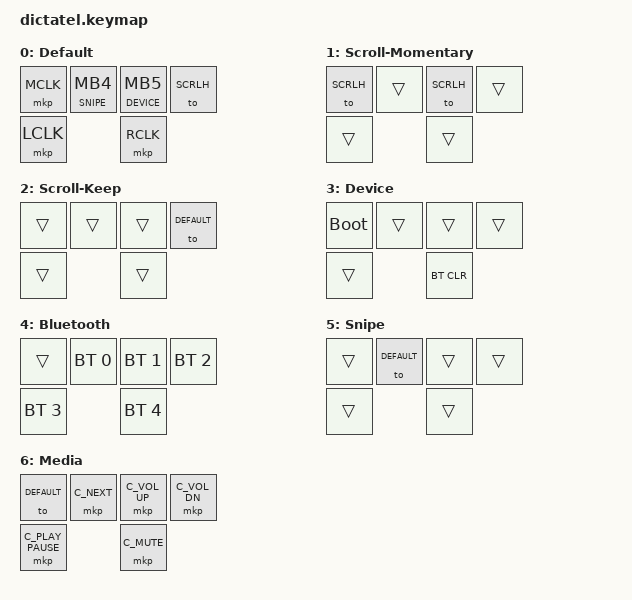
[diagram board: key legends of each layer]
#include <behaviors.dtsi>
#include <dt-bindings/zmk/bt.h>
#include <dt-bindings/zmk/keys.h>
#include <dt-bindings/zmk/pointing.h>
#include <dt-bindings/zmk/outputs.h>

// #include <dt-bindings/zmk/mouse.h>

#define DEFAULT 0
#define SCRLM 1
#define SCRLH 2
#define DEVICE 3
#define BLTH 4
#define SNIPE 5
#define MEDIA 6

/ {
  combos {
    compatible = "zmk,combos";
    combo_esc {
      timeout-ms = <50>;
      key-positions = <2 3>;
      bindings = <&mkp RCLK>;
    };
  };
  behaviors {
    ltm: layer-tap-momentary {
      compatible = "zmk,behavior-hold-tap";
      #binding-cells = <2>;
      flavor = "tap-preferred";
      tapping-term-ms = <200>;
      bindings = <&mo>, <&mkp>;
    };
    lth: layer-tap-hold-while-undecided {
      compatible = "zmk,behavior-hold-tap";
      #binding-cells = <2>;
      flavor = "hold-preferred";
      hold-while-undecided;
      tapping-term-ms = <150>;
      bindings = <&mo>, <&mkp>;
    };
    mto: momentary-or-toggle {
      compatible = "zmk,behavior-hold-tap";
      #binding-cells = <2>;
      flavor = "hold-preferred";
      hold-while-undecided;
      tapping-term-ms = <200>;
      bindings = <&mo>, <&to>;
    };
  };
  keymap {
    compatible = "zmk,keymap";
    default_layer {
      display-name = "Default";
      bindings = <
        &mkp MCLK &ltm SNIPE MB4 &ltm DEVICE MB5 &to SCRLH
        &mkp LCLK                      &mkp RCLK
      >;
    };
    scroll_tap_layer {
      display-name = "Scroll-Momentary";
      bindings = <
        &to SCRLH &trans &to SCRLH &trans
        &trans               &trans
      >;
    };
    scroll_hold_layer {
      display-name = "Scroll-Keep";
      bindings = <
        &trans &trans &trans &to DEFAULT
        &trans               &trans
      >;
    };
    device_layer {
      display-name = "Device";
      bindings = <
        &bootloader &trans &trans &trans
        &trans                    &bt BT_CLR
      >;
    };
    bluetooth_layer {
      display-name = "Bluetooth";
      bindings = <
        &trans &bt BT_SEL 0 &bt BT_SEL 1 &bt BT_SEL 2
        &bt BT_SEL 3                     &bt BT_SEL 4
      >;
    };
    snipe_layer {
      display-name = "Snipe";
      bindings = <
        &trans &to DEFAULT &trans &trans
        &trans               &trans
      >;
    };
    media_layer {
      display-name = "Media";
      bindings = <
        &to DEFAULT &mkp C_NEXT &mkp C_VOL_UP &mkp C_VOL_DN
        &mkp C_PLAY_PAUSE               &mkp C_MUTE
      >;
    };
  };
};
